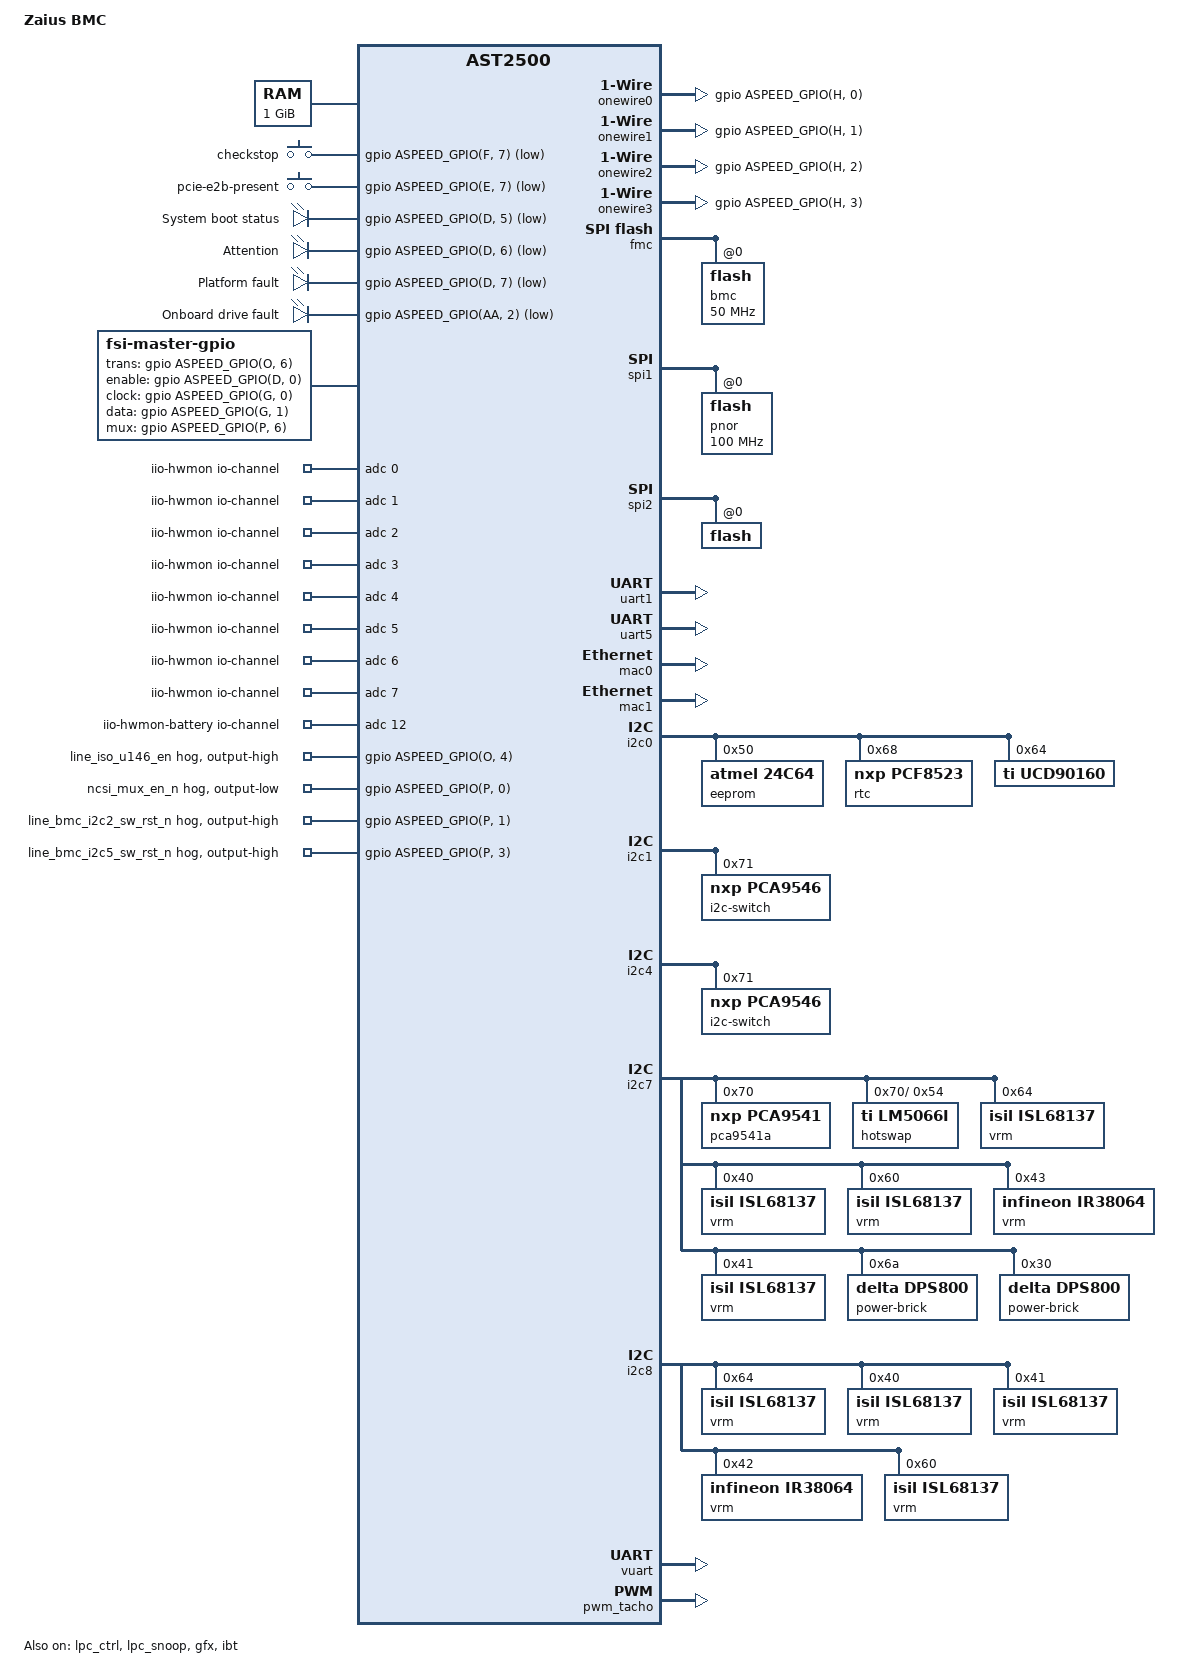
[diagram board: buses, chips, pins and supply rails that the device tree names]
// SPDX-License-Identifier: GPL-2.0
/dts-v1/;
#include "aspeed-g5.dtsi"
#include <dt-bindings/gpio/aspeed-gpio.h>

/ {
	model = "Zaius BMC";
	compatible = "ingrasys,zaius-bmc", "aspeed,ast2500";

	aliases {
		i2c15 = &i2cpcie0;
		i2c16 = &i2cpcie1;
		i2c17 = &i2cpcie2;
		i2c19 = &i2cpcie3;
		i2c20 = &i2cpcie4;
	};

	chosen {
		stdout-path = &uart5;
		bootargs = "console=ttyS4,115200 earlycon";
	};

	memory@80000000 {
		reg = <0x80000000 0x40000000>;
	};

	reserved-memory {
		#address-cells = <1>;
		#size-cells = <1>;
		ranges;

		flash_memory: region@98000000 {
			no-map;
			reg = <0x98000000 0x04000000>; /* 64M */
		};
	};

	onewire0 {
		compatible = "w1-gpio";
		gpios = <&gpio ASPEED_GPIO(H, 0) GPIO_ACTIVE_HIGH>;
	};

	onewire1 {
		compatible = "w1-gpio";
		gpios = <&gpio ASPEED_GPIO(H, 1) GPIO_ACTIVE_HIGH>;
	};

	onewire2 {
		compatible = "w1-gpio";
		gpios = <&gpio ASPEED_GPIO(H, 2) GPIO_ACTIVE_HIGH>;
	};

	onewire3 {
		compatible = "w1-gpio";
		gpios = <&gpio ASPEED_GPIO(H, 3) GPIO_ACTIVE_HIGH>;
	};

	gpio-keys {
		compatible = "gpio-keys";

		event-checkstop {
			label = "checkstop";
			gpios = <&gpio ASPEED_GPIO(F, 7) GPIO_ACTIVE_LOW>;
			linux,code = <ASPEED_GPIO(F, 7)>;
		};

		event-pcie-e2b-present{
			label = "pcie-e2b-present";
			gpios = <&gpio ASPEED_GPIO(E, 7) GPIO_ACTIVE_LOW>;
			linux,code = <ASPEED_GPIO(E, 7)>;
		};
	};

	leds {
		compatible = "gpio-leds";

		sys_boot_status {
			label = "System boot status";
			gpios = <&gpio ASPEED_GPIO(D, 5) GPIO_ACTIVE_LOW>;
		};

		attention {
			label = "Attention";
			gpios = <&gpio ASPEED_GPIO(D, 6) GPIO_ACTIVE_LOW>;
		};

		plt_fault {
			label = "Platform fault";
			gpios = <&gpio ASPEED_GPIO(D, 7) GPIO_ACTIVE_LOW>;
		};

		hdd_fault {
			label = "Onboard drive fault";
			gpios = <&gpio ASPEED_GPIO(AA, 2) GPIO_ACTIVE_LOW>;
		};
	};

	fsi: gpio-fsi {
		compatible = "fsi-master-gpio", "fsi-master";
		#address-cells = <2>;
		#size-cells = <0>;
		no-gpio-delays;

		trans-gpios = <&gpio ASPEED_GPIO(O, 6) GPIO_ACTIVE_HIGH>;
		enable-gpios = <&gpio ASPEED_GPIO(D, 0) GPIO_ACTIVE_HIGH>;
		clock-gpios = <&gpio ASPEED_GPIO(G, 0) GPIO_ACTIVE_HIGH>;
		data-gpios = <&gpio ASPEED_GPIO(G, 1) GPIO_ACTIVE_HIGH>;
		mux-gpios = <&gpio ASPEED_GPIO(P, 6) GPIO_ACTIVE_HIGH>;
	};

	iio-hwmon {
		compatible = "iio-hwmon";
		io-channels = <&adc 0>, <&adc 1>, <&adc 2>, <&adc 3>,
			<&adc 4>, <&adc 5>, <&adc 6>, <&adc 7>,
			<&adc 8>, <&adc 9>, <&adc 10>, <&adc 11>,
			<&adc 13>, <&adc 14>, <&adc 15>;
	};

	iio-hwmon-battery {
		compatible = "iio-hwmon";
		io-channels = <&adc 12>;
	};

};

&fmc {
	status = "okay";

	flash@0 {
		status = "okay";
		label = "bmc";
		m25p,fast-read;
		spi-max-frequency = <50000000>;
#include "openbmc-flash-layout.dtsi"
	};
};

&spi1 {
	status = "okay";
	pinctrl-names = "default";
	pinctrl-0 = <&pinctrl_spi1_default>;

	flash@0 {
		status = "okay";
		label = "pnor";
		m25p,fast-read;
		spi-max-frequency = <100000000>;
	};
};

&spi2 {
	status = "okay";
	pinctrl-names = "default";
	pinctrl-0 = <&pinctrl_spi2ck_default
		     &pinctrl_spi2cs0_default
		     &pinctrl_spi2cs1_default
		     &pinctrl_spi2miso_default
		     &pinctrl_spi2mosi_default>;

	flash@0 {
		status = "okay";
	};
};

&uart1 {
	status = "okay";
	pinctrl-names = "default";
	pinctrl-0 = <&pinctrl_txd1_default
		     &pinctrl_rxd1_default>;
};

&lpc_ctrl {
	status = "okay";
	memory-region = <&flash_memory>;
	flash = <&spi1>;
};

&lpc_snoop {
	status = "okay";
	snoop-ports = <0x80>;
};


&uart5 {
	status = "okay";
};

&mac0 {
	status = "okay";
	pinctrl-names = "default";
	pinctrl-0 = <&pinctrl_rmii1_default>;
	clocks = <&syscon ASPEED_CLK_GATE_MAC1CLK>,
		 <&syscon ASPEED_CLK_MAC1RCLK>;
	clock-names = "MACCLK", "RCLK";
	use-ncsi;
};

&mac1 {
	status = "okay";

	pinctrl-names = "default";
	pinctrl-0 = <&pinctrl_rgmii2_default &pinctrl_mdio2_default>;
};

&i2c0 {
	status = "okay";

	eeprom@50 {
		compatible = "atmel,24c64";
		reg = <0x50>;
		pagesize = <32>;
	};

	rtc@68 {
		compatible = "nxp,pcf8523";
		reg = <0x68>;
	};

	ucd90160@64 {
		compatible = "ti,ucd90160";
		reg = <0x64>;
	};

	/* Power sequencer UCD90160 PMBUS @64h
	 * FRU AT24C64D @50h
	 * RTC PCF8523 @68h
	 * Clock buffer 9DBL04 @6dh
	 */
};

&i2c1 {
	status = "okay";

	i2c-switch@71 {
		compatible = "nxp,pca9546";
		reg = <0x71>;
		#address-cells = <1>;
		#size-cells = <0>;

		i2cpcie0: i2c@0 {
			#address-cells = <1>;
			#size-cells = <0>;
			reg = <0>;
		};
		i2cpcie1: i2c@1 {
			#address-cells = <1>;
			#size-cells = <0>;
			reg = <1>;
		};
		i2cpcie2: i2c@2 {
			#address-cells = <1>;
			#size-cells = <0>;
			reg = <2>;
		};
		i2ctpm: i2c@3 {
			#address-cells = <1>;
			#size-cells = <0>;
			reg = <3>;
		};
	};

	/* MUX1 PCA9546A @71h
	 *   PCIe 0
	 *   PCIe 1
	 *   PCIe 2
	 *   TPM header
	 */
};

&i2c2 {
	status = "disabled";

	/* OCP Mezz Connector A (OOB SMBUS) */
};

&i2c3 {
	status = "disabled";

	/* OCP Mezz Connector A (PCIe slot SMBUS) */
};

&i2c4 {
	status = "okay";

	i2c-switch@71 {
		compatible = "nxp,pca9546";
		reg = <0x71>;
		#address-cells = <1>;
		#size-cells = <0>;

		i2cpcie3: i2c@0 {
			#address-cells = <1>;
			#size-cells = <0>;
			reg = <0>;
		};
		i2cpcie4: i2c@1 {
			#address-cells = <1>;
			#size-cells = <0>;
			reg = <1>;
		};
	};

	/* MUX1 PCA9546A @71h
	 *   PCIe 3
	 *   PCIe 4
	 */
};


&i2c5 {
	status = "disabled";

	/* CPU0 PRM 0.7V */
	/* CPU0 PRM 1.2V CH03 */
	/* CPU0 PRM 0.8V */
	/* CPU0 PRM 1.2V CH47 */
};

&i2c6 {
	status = "disabled";

	/* CPU1 PRM 0.7V */
	/* CPU1 PRM 1.2V CH03 */
	/* CPU1 PRM 0.8V */
	/* CPU1 PRM 1.2V CH47 */
};

&i2c7 {
	status = "okay";

	pca9541a@70 {
		compatible = "nxp,pca9541";
		reg = <0x70>;

		i2c-arb {
			#address-cells = <1>;
			#size-cells = <0>;

			hotswap@54 {
				compatible = "ti,lm5066i";
				reg = <0x54>;
			};
		};

	};

	vrm@64 {
		compatible = "isil,isl68137";
		reg = <0x64>;
	};

	vrm@40 {
		compatible = "isil,isl68137";
		reg = <0x40>;
	};

	vrm@60 {
		compatible = "isil,isl68137";
		reg = <0x60>;
	};

	vrm@43 {
		compatible = "infineon,ir38064";
		reg = <0x43>;
	};

	vrm@41 {
		compatible = "isil,isl68137";
		reg = <0x41>;
	};

	/* Master selector PCA9541A @70h (other master: CPU0)
	 *   LM5066I PMBUS @10h
	 */

	/*
	 * Brick will be one of these types/addresses.  Depending
	 * on the board SKU only one is actually present and will successfully
	 * instantiate while the others will fail the probe operation.
	 * These are the PVT (and presumably beyond) addresses:
	 *    12V Quarter Brick DC/DC Converter Q54SJ12050 @6Ah
	 *    12V Quarter Brick DC/DC Converter Q54SH12050 @30h
	 */
	power-brick@6a {
		compatible = "delta,dps800";
		reg = <0x6a>;
	};
	power-brick@30 {
		compatible = "delta,dps800";
		reg = <0x30>;
	};

	/* CPU0 VR ISL68137 0.7V, 0.96V PMBUS @64h */
	/* CPU0 VR ISL68137 1.2V CH03 PMBUS @40h */
	/* CPU0 VR ISL68137 0.8V PMBUS @60h */
	/* CPU0 VR 1.0V IR38064 I2C @11h, PMBUS @43h */
	/* CPU0 VR ISL68137 1.2V CH47 PMBUS @41h */
	/* Master selector PCA9541A @70h (other master: CPU0)
	 *   LM5066I PMBUS @10h
	 */
};

&i2c8 {
	status = "okay";

	vrm@64 {
		compatible = "isil,isl68137";
		reg = <0x64>;
	};

	vrm@40 {
		compatible = "isil,isl68137";
		reg = <0x40>;
	};

	vrm@41 {
		compatible = "isil,isl68137";
		reg = <0x41>;
	};

	vrm@42 {
		compatible = "infineon,ir38064";
		reg = <0x42>;
	};

	vrm@60 {
		compatible = "isil,isl68137";
		reg = <0x60>;
	};

	/* CPU1 VR ISL68137 0.7V, 0.96V PMBUS @64h */
	/* CPU1 VR ISL68137 1.2V CH03 PMBUS @40h */
	/* CPU1 VR ISL68137 1.2V CH47 PMBUS @41h */
	/* CPU1 VR 1.0V IR38064 I2C @12h, PMBUS @42h */
	/* CPU1 VR ISL68137 0.8V PMBUS @60h */
};


&i2c9 {
	status = "disabled";

	/* Fan board */
};

&i2c10 {
	status = "disabled";
};

&i2c11 {
	status = "disabled";

	/* GPU sideband */
};

&i2c12 {
	status = "disabled";
};

&i2c13 {
	status = "disabled";

	/* MUX PI3USB102
	 *   CPU0 debug
	 *   CPU1 debug
	 */
};

&pinctrl {
	aspeed,external-nodes = <&gfx &lhc>;

	pinctrl_gpioh_unbiased: gpioi_unbiased {
		pins = "A8", "C7", "B7", "A7", "D7", "B6", "A6", "E7";
		bias-disable;
	};
};

&gpio {
	pinctrl-names = "default";
	pinctrl-0 = <&pinctrl_gpioh_unbiased>;

	gpio-line-names =
	/*A0-A7*/	"","cfam-reset","","","","","","",
	/*B0-B7*/	"","","","","","","","",
	/*C0-C7*/	"","","","","","","","",
	/*D0-D7*/	"fsi-enable","","","","","led-sys-boot-status","led-attention",
				"led-fault",
	/*E0-E7*/	"","","","","","","","presence-pcie-e2b",
	/*F0-F7*/	"","","","","","","","checkstop",
	/*G0-G7*/	"fsi-clock","fsi-data","","","","","","",
	/*H0-H7*/	"onewire0","onewire1","onewire2","onewire3","","","","",
	/*I0-I7*/	"","","","power-button","","","","",
	/*J0-J7*/	"","","","","","","","",
	/*K0-K7*/	"","","","","","","","",
	/*L0-L7*/	"","","","","","","","",
	/*M0-M7*/	"","","","","","","","",
	/*N0-N7*/	"","","","","","","","",
	/*O0-O7*/	"","","","","iso_u164_en","","fsi-trans","",
	/*P0-P7*/	"ncsi_mux_en_n","bmc_i2c2_sw_rst_n","","bmc_i2c5_sw_rst_n","",
				"","fsi-mux","",
	/*Q0-Q7*/	"","","","","","","","",
	/*R0-R7*/	"","","","","","","","",
	/*S0-S7*/	"","","","","","","","",
	/*T0-T7*/	"","","","","","","","",
	/*U0-U7*/	"","","","","","","","",
	/*V0-V7*/	"","","","","","","","",
	/*W0-W7*/	"","","","","","","","",
	/*X0-X7*/	"","","","","","","","",
	/*Y0-Y7*/	"","","","","","","","",
	/*Z0-Z7*/	"","","","","","","","",
	/*AA0-AA7*/	"","","led-hdd-fault","","","","","",
	/*AB0-AB7*/	"","","","","","","","",
	/*AC0-AC7*/	"","","","","","","","";

	line_iso_u146_en {
		gpio-hog;
		gpios = <ASPEED_GPIO(O, 4) GPIO_ACTIVE_HIGH>;
		output-high;
	};

	ncsi_mux_en_n {
		gpio-hog;
		gpios = <ASPEED_GPIO(P, 0) GPIO_ACTIVE_HIGH>;
		output-low;
	};

	line_bmc_i2c2_sw_rst_n {
		gpio-hog;
		gpios = <ASPEED_GPIO(P, 1) GPIO_ACTIVE_HIGH>;
		output-high;
	};

	line_bmc_i2c5_sw_rst_n {
		gpio-hog;
		gpios = <ASPEED_GPIO(P, 3) GPIO_ACTIVE_HIGH>;
		output-high;
	};
};

&vuart {
	status = "okay";
};

&gfx {
	status = "okay";
};

&pwm_tacho {
	status = "okay";
	pinctrl-names = "default";
	pinctrl-0 = <&pinctrl_pwm0_default &pinctrl_pwm1_default
		&pinctrl_pwm2_default &pinctrl_pwm3_default>;

	fan@0 {
		reg = <0x00>;
		aspeed,fan-tach-ch = /bits/ 8 <0x00>;
	};

	fan@1 {
		reg = <0x01>;
		aspeed,fan-tach-ch = /bits/ 8 <0x01>;
	};

	fan@2 {
		reg = <0x02>;
		aspeed,fan-tach-ch = /bits/ 8 <0x02>;
	};

	fan@3 {
		reg = <0x03>;
		aspeed,fan-tach-ch = /bits/ 8 <0x03>;
	};
};

&ibt {
	status = "okay";
};

#include "ibm-power9-dual.dtsi"
